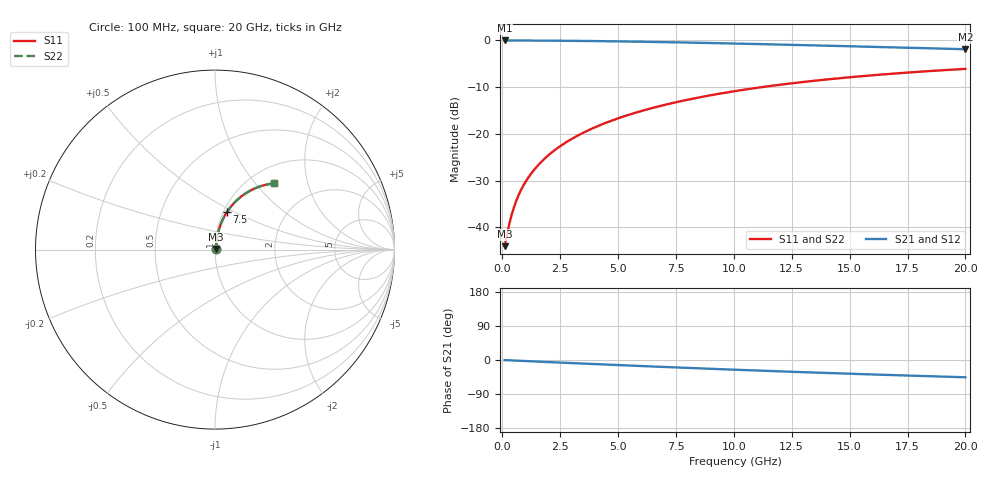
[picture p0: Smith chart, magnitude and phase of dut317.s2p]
! Touchstone file exported from HFSS 2024.1.0
!  File:  C:/UserFiles/LocalFiles/RDL_TSV_Batchsim/temp_RDL_top_317_1779606851.aedt
!  Generated:  03:16:45 PM May 24, 2026
!  Design:  RDL_top
!  Project:  temp_RDL_top_317_1779606851
!  Setup:  Setup1
!  Solution:  Sweep
! Variables:
!  dtsv = 10.80580581um
!  hbump = 3um
!  htsv = 62.13um
!  ldown = 100um
!  lrdl = 579.62um
!  p = 40
!  p1 = 53.25um
!  rhole = 1um
!  t = 450um
!  tdown = 3.915915916um
!  trdl = 2.64um
!  wdown = 15.38538539um
!  wrdl = 14.46um
# GHz S MA R 50.000000
! Terminal data exported
! Port[1] = Box2_T1
! Port[2] = Box2_T2
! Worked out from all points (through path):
!   200 points, 100 MHz to 20 GHz, reference 50 ohm
!   highest |S21| = -0.05 dB at 100 MHz (marker M1); lowest = -1.9 dB at 20 GHz (marker M2)
!   group delay of S21, straight-line fit = 6.33 ps
!   lowest |S11| = -44.0 dB at 100 MHz (marker M3), VSWR 1.01, Z = 50.6 + j0.311 ohm
!   |S11| at or under -10 dB: start of sweep to 11.25 GHz
!   |S22| runs from -44.0 to -6.1 dB; largest |S21 - S12| = 2.6e-15
!   S11 on the Smith chart (normalised r, x): 100 MHz: 1.01, +0.01; 7.5 GHz: 1.04, +0.45; 20 GHz: 1.29, +1.26
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0.1  0.006299 29.2  0.9945 -0.3  0.9945 -0.3  0.006299 29.2
! Gamma 0 0 0 0
! Port Impedance 50 0 50 0
0.3  0.01081 57.9  0.9943 -0.8  0.9943 -0.8  0.01081 57.9
0.4  0.01352 64.0  0.9941 -1.1  0.9941 -1.1  0.01352 64.0
0.5  0.01632 67.9  0.9939 -1.4  0.9939 -1.4  0.01632 67.9
0.6  0.01914 70.6  0.9937 -1.7  0.9937 -1.7  0.01914 70.6
0.7  0.02198 72.6  0.9935 -2.0  0.9935 -2.0  0.02198 72.6
0.9  0.02768 75.2  0.993 -2.5  0.993 -2.5  0.02768 75.2
1.2  0.03625 77.4  0.9923 -3.3  0.9923 -3.3  0.03625 77.4
1.4  0.04198 78.3  0.9917 -3.9  0.9917 -3.9  0.04198 78.3
1.7  0.05061 79.2  0.9908 -4.7  0.9908 -4.7  0.05061 79.2
2.2  0.06506 79.7  0.989 -6.0  0.989 -6.0  0.06506 79.7
2.8  0.08246 79.7  0.9863 -7.6  0.9863 -7.6  0.08246 79.7
3.5  0.1028 79.2  0.9826 -9.5  0.9826 -9.5  0.1028 79.2
4.2  0.1231 78.3  0.9781 -11.3  0.9781 -11.3  0.1231 78.3
5  0.1463 77.1  0.9722 -13.4  0.9722 -13.4  0.1463 77.1
6.8  0.1978 73.9  0.9565 -17.9  0.9565 -17.9  0.1978 73.9
7.5  0.2174 72.5  0.9497 -19.7  0.9497 -19.7  0.2174 72.5
8.7  0.2503 70.1  0.9371 -22.5  0.9371 -22.5  0.2503 70.1
10.1  0.2873 67.2  0.9214 -25.8  0.9214 -25.8  0.2873 67.2
13.4  0.3673 60.5  0.8819 -33.0  0.8819 -33.0  0.3673 60.5
16.7  0.4362 54.2  0.8413 -39.6  0.8413 -39.6  0.4362 54.2
20  0.4942 48.3  0.8015 -45.6  0.8015 -45.6  0.4942 48.3
